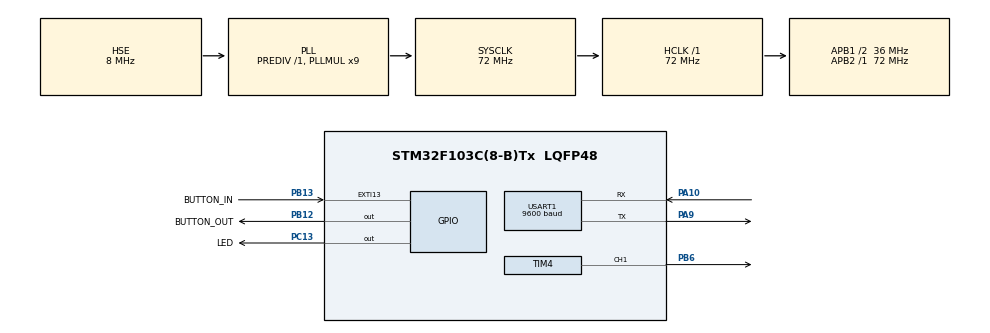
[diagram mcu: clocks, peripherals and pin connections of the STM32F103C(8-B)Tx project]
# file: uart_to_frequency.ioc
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Mcu.Family=STM32F1
Mcu.Name=STM32F103C(8-B)Tx
Mcu.Package=LQFP48
NVIC.EXTI15_10_IRQn=true\:0\:0\:false\:false\:true\:true\:true
NVIC.PriorityGroup=NVIC_PRIORITYGROUP_4
NVIC.TIM4_IRQn=true\:0\:0\:false\:false\:true\:true\:true
NVIC.USART1_IRQn=true\:0\:0\:false\:false\:true\:true\:true
PA10.Mode=Asynchronous
PA10.Signal=USART1_RX
PA13.Mode=Serial_Wire
PA13.Signal=SYS_JTMS-SWDIO
PA14.Mode=Serial_Wire
PA14.Signal=SYS_JTCK-SWCLK
PA9.Mode=Asynchronous
PA9.Signal=USART1_TX
PB12.GPIO_Label=BUTTON_OUT
PB12.GPIO_ModeDefaultOutputPP=GPIO_MODE_OUTPUT_PP
PB12.GPIO_PuPd=GPIO_PULLDOWN
PB12.Signal=GPIO_Output
PB13.GPIO_Label=BUTTON_IN
PB13.GPIO_ModeDefaultEXTI=GPIO_MODE_IT_FALLING
PB13.Signal=GPXTI13
PB6.Signal=S_TIM4_CH1
PC13-TAMPER-RTC.GPIO_Label=LED
PC13-TAMPER-RTC.GPIO_ModeDefaultOutputPP=GPIO_MODE_OUTPUT_PP
PC13-TAMPER-RTC.GPIO_PuPd=GPIO_PULLDOWN
PC13-TAMPER-RTC.Signal=GPIO_Output
PC14-OSC32_IN.Mode=LSE-External-Oscillator
PC14-OSC32_IN.Signal=RCC_OSC32_IN
PC15-OSC32_OUT.Mode=LSE-External-Oscillator
PC15-OSC32_OUT.Signal=RCC_OSC32_OUT
PD0-OSC_IN.Mode=HSE-External-Oscillator
PD0-OSC_IN.Signal=RCC_OSC_IN
PD1-OSC_OUT.Mode=HSE-External-Oscillator
PD1-OSC_OUT.Signal=RCC_OSC_OUT
ProjectManager.HeapSize=0x200
ProjectManager.StackSize=0x400
ProjectManager.TargetToolchain=STM32CubeIDE
RCC.AHBFreq_Value=72000000
RCC.APB1CLKDivider=RCC_HCLK_DIV2
RCC.APB1Freq_Value=36000000
RCC.APB1TimFreq_Value=72000000
RCC.APB2Freq_Value=72000000
RCC.APB2TimFreq_Value=72000000
RCC.HCLKFreq_Value=72000000
RCC.PLLMUL=RCC_PLL_MUL9
RCC.PLLSourceVirtual=RCC_PLLSOURCE_HSE
RCC.SYSCLKFreq_VALUE=72000000
RCC.SYSCLKSource=RCC_SYSCLKSOURCE_PLLCLK
RCC.USBFreq_Value=72000000
SH.S_TIM4_CH1.0=TIM4_CH1,Output Compare1 CH1
TIM4.AutoReloadPreload=TIM_AUTORELOAD_PRELOAD_ENABLE
TIM4.Channel-Output\ Compare1\ CH1=TIM_CHANNEL_1
TIM4.ClockDivision=TIM_CLOCKDIVISION_DIV1
TIM4.OC1Preload=ENABLE
TIM4.OCMode_1=TIM_OCMODE_TOGGLE
TIM4.Period=48
TIM4.Prescaler=10000-1
TIM4.Pulse-Output\ Compare1\ CH1=24
TIM4.TIM_MasterOutputTrigger=TIM_TRGO_RESET
TIM4.TIM_MasterSlaveMode=TIM_MASTERSLAVEMODE_DISABLE
USART1.BaudRate=9600
USART1.VirtualMode=VM_ASYNC
board=custom

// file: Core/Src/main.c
/* USER CODE BEGIN Header */
/**
  ******************************************************************************
  * @file           : main.c
  * @brief          : Main program body
  ******************************************************************************
  * @attention
  *
  * <h2><center>&copy; Copyright (c) 2021 STMicroelectronics.
  * All rights reserved.</center></h2>
  *
  * This software component is licensed by ST under BSD 3-Clause license,
  * the "License"; You may not use this file except in compliance with the
  * License. You may obtain a copy of the License at:
  *                        opensource.org/licenses/BSD-3-Clause
  *
  ******************************************************************************
  */
/* USER CODE END Header */
#include "main.h"

/* USER CODE BEGIN Includes */
#include "stm32f1xx_hal_flash_ex.h"
#include "stm32f1xx_hal_flash.h"
/* USER CODE END Includes */

TIM_HandleTypeDef htim4;

UART_HandleTypeDef huart1;

/* USER CODE BEGIN PV */
tdStructUL212 ul212;
FLASH_EraseInitTypeDef hflash;
uint32_t hPageError;
uint32_t periodLed;
uint32_t counterLed;
uint32_t counter = 0;
/* USER CODE END PV */

void SystemClock_Config(void);
static void MX_GPIO_Init(void);
static void MX_USART1_UART_Init(void);
static void MX_TIM4_Init(void);
/* USER CODE BEGIN PFP */
void UL212_Init(tdStructUL212 * UL212);
void UL212_LedInit(tdEnumStatusLed  STATUS_LED);
uint8_t AsciiToHex (char simbol);
void UL212_DataParser(tdStructUL212 * UL212);
void UL212_LedHandler(tdStructUL212 * UL212);
void UL212_FrequencyOut(int32_t frequency);
void FlashWriteSettings(uint32_t data, uint32_t page);
uint32_t FlashRead (uint32_t addr);
/* USER CODE END PFP */

int main(void)
{

  /* MCU Configuration--------------------------------------------------------*/

  /* Reset of all peripherals, Initializes the Flash interface and the Systick. */
  HAL_Init();

  /* Configure the system clock */
  SystemClock_Config();

  /* Initialize all configured peripherals */
  MX_GPIO_Init();
  MX_USART1_UART_Init();
  MX_TIM4_Init();
  /* USER CODE BEGIN 2 */
  UL212_Init(&ul212);
  HAL_GPIO_WritePin(BUTTON_OUT_GPIO_Port, BUTTON_OUT_Pin, GPIO_PIN_RESET);
  HAL_GPIO_WritePin(LED_GPIO_Port, LED_Pin, GPIO_PIN_SET);

  HAL_UART_Receive_IT(&huart1, ul212.rawData.uartBuffer, 1);
  //HAL_TIM_Base_Start_IT(&htim4);
  HAL_TIM_OC_Start_IT(&htim4, TIM_CHANNEL_1);
  //HAL_TIMEx_OCN_Start_IT(&htim4, TIM_CHANNEL_1);
  /* USER CODE END 2 */

  /* Infinite loop */
  /* USER CODE BEGIN WHILE */
  while (1)
  {
	  if (ul212.rawData.uartFlagEndString)
		  UL212_DataParser(&ul212);
	  if (ul212.hardwareCode == HW_NORMAL && ul212.softwareCode == SW_NORMAL_DATA &&
			  ul212.signalStrength > 60 && ul212.tiltAngle < 10 && ul212.validSignal > 26){
		  uint16_t dataL = ul212.liquidLevelValue;
		  UL212_FrequencyOut((1000*dataL/ul212.valueUp) + 500);
		  //UL212_FrequencyOut(((float)dataL*ul212.coeficient) + 500);
	  }

	  UL212_LedHandler(&ul212);
	  if (counter){
		  if(HAL_GPIO_ReadPin(BUTTON_IN_GPIO_Port, BUTTON_IN_Pin) != GPIO_PIN_SET){
			  if(ul212.hardwareCode == HW_NORMAL && ul212.softwareCode == SW_NORMAL_DATA){
				  ul212.valueUp = ul212.liquidLevelValue;
				  ul212.coeficient = (float)1000/(float)ul212.valueUp;
				  FlashWriteSettings(ul212.valueUp, SETTINGS_PAGE);
				  counter = 0;
				  UL212_LedInit(LED_FLASH_PROGRAM_OK);
			  }
		  }
	  }
    /* USER CODE END WHILE */

  }
}

void SystemClock_Config(void)
{
  RCC_OscInitTypeDef RCC_OscInitStruct = {0};
  RCC_ClkInitTypeDef RCC_ClkInitStruct = {0};

  /** Initializes the RCC Oscillators according to the specified parameters
  * in the RCC_OscInitTypeDef structure.
  */
  RCC_OscInitStruct.OscillatorType = RCC_OSCILLATORTYPE_HSE;
  RCC_OscInitStruct.HSEState = RCC_HSE_ON;
  RCC_OscInitStruct.HSEPredivValue = RCC_HSE_PREDIV_DIV1;
  RCC_OscInitStruct.HSIState = RCC_HSI_ON;
  RCC_OscInitStruct.PLL.PLLState = RCC_PLL_ON;
  RCC_OscInitStruct.PLL.PLLSource = RCC_PLLSOURCE_HSE;
  RCC_OscInitStruct.PLL.PLLMUL = RCC_PLL_MUL9;
  if (HAL_RCC_OscConfig(&RCC_OscInitStruct) != HAL_OK)
  {
    Error_Handler();
  }
  /** Initializes the CPU, AHB and APB buses clocks
  */
  RCC_ClkInitStruct.ClockType = RCC_CLOCKTYPE_HCLK|RCC_CLOCKTYPE_SYSCLK
                              |RCC_CLOCKTYPE_PCLK1|RCC_CLOCKTYPE_PCLK2;
  RCC_ClkInitStruct.SYSCLKSource = RCC_SYSCLKSOURCE_PLLCLK;
  RCC_ClkInitStruct.AHBCLKDivider = RCC_SYSCLK_DIV1;
  RCC_ClkInitStruct.APB1CLKDivider = RCC_HCLK_DIV2;
  RCC_ClkInitStruct.APB2CLKDivider = RCC_HCLK_DIV1;

  if (HAL_RCC_ClockConfig(&RCC_ClkInitStruct, FLASH_LATENCY_2) != HAL_OK)
  {
    Error_Handler();
  }
}

static void MX_TIM4_Init(void)
{

  TIM_MasterConfigTypeDef sMasterConfig = {0};
  TIM_OC_InitTypeDef sConfigOC = {0};

  htim4.Instance = TIM4;
  htim4.Init.Prescaler = 10000-1;
  htim4.Init.CounterMode = TIM_COUNTERMODE_UP;
  htim4.Init.Period = 48;
  htim4.Init.ClockDivision = TIM_CLOCKDIVISION_DIV1;
  htim4.Init.AutoReloadPreload = TIM_AUTORELOAD_PRELOAD_ENABLE;
  if (HAL_TIM_OC_Init(&htim4) != HAL_OK)
  {
    Error_Handler();
  }
  sMasterConfig.MasterOutputTrigger = TIM_TRGO_RESET;
  sMasterConfig.MasterSlaveMode = TIM_MASTERSLAVEMODE_DISABLE;
  if (HAL_TIMEx_MasterConfigSynchronization(&htim4, &sMasterConfig) != HAL_OK)
  {
    Error_Handler();
  }
  sConfigOC.OCMode = TIM_OCMODE_TOGGLE;
  sConfigOC.Pulse = 24;
  sConfigOC.OCPolarity = TIM_OCPOLARITY_HIGH;
  sConfigOC.OCFastMode = TIM_OCFAST_DISABLE;
  if (HAL_TIM_OC_ConfigChannel(&htim4, &sConfigOC, TIM_CHANNEL_1) != HAL_OK)
  {
    Error_Handler();
  }
  __HAL_TIM_ENABLE_OCxPRELOAD(&htim4, TIM_CHANNEL_1);
  HAL_TIM_MspPostInit(&htim4);

}

static void MX_USART1_UART_Init(void)
{

  huart1.Instance = USART1;
  huart1.Init.BaudRate = 9600;
  huart1.Init.WordLength = UART_WORDLENGTH_8B;
  huart1.Init.StopBits = UART_STOPBITS_1;
  huart1.Init.Parity = UART_PARITY_NONE;
  huart1.Init.Mode = UART_MODE_TX_RX;
  huart1.Init.HwFlowCtl = UART_HWCONTROL_NONE;
  huart1.Init.OverSampling = UART_OVERSAMPLING_16;
  if (HAL_UART_Init(&huart1) != HAL_OK)
  {
    Error_Handler();
  }

}

static void MX_GPIO_Init(void)
{
  GPIO_InitTypeDef GPIO_InitStruct = {0};

  /* GPIO Ports Clock Enable */
  __HAL_RCC_GPIOC_CLK_ENABLE();
  __HAL_RCC_GPIOD_CLK_ENABLE();
  __HAL_RCC_GPIOB_CLK_ENABLE();
  __HAL_RCC_GPIOA_CLK_ENABLE();

  /*Configure GPIO pin Output Level */
  HAL_GPIO_WritePin(LED_GPIO_Port, LED_Pin, GPIO_PIN_RESET);

  /*Configure GPIO pin Output Level */
  HAL_GPIO_WritePin(BUTTON_OUT_GPIO_Port, BUTTON_OUT_Pin, GPIO_PIN_RESET);

  /*Configure GPIO pin : LED_Pin */
  GPIO_InitStruct.Pin = LED_Pin;
  GPIO_InitStruct.Mode = GPIO_MODE_OUTPUT_PP;
  GPIO_InitStruct.Pull = GPIO_PULLDOWN;
  GPIO_InitStruct.Speed = GPIO_SPEED_FREQ_LOW;
  HAL_GPIO_Init(LED_GPIO_Port, &GPIO_InitStruct);

  /*Configure GPIO pin : BUTTON_OUT_Pin */
  GPIO_InitStruct.Pin = BUTTON_OUT_Pin;
  GPIO_InitStruct.Mode = GPIO_MODE_OUTPUT_PP;
  GPIO_InitStruct.Pull = GPIO_PULLDOWN;
  GPIO_InitStruct.Speed = GPIO_SPEED_FREQ_LOW;
  HAL_GPIO_Init(BUTTON_OUT_GPIO_Port, &GPIO_InitStruct);

  /*Configure GPIO pin : BUTTON_IN_Pin */
  GPIO_InitStruct.Pin = BUTTON_IN_Pin;
  GPIO_InitStruct.Mode = GPIO_MODE_IT_FALLING;
  GPIO_InitStruct.Pull = GPIO_NOPULL;
  HAL_GPIO_Init(BUTTON_IN_GPIO_Port, &GPIO_InitStruct);

  /* EXTI interrupt init*/
  HAL_NVIC_SetPriority(EXTI15_10_IRQn, 0, 0);
  HAL_NVIC_EnableIRQ(EXTI15_10_IRQn);

}

/* USER CODE BEGIN 4 */

void HAL_GPIO_EXTI_Callback(uint16_t GPIO_Pin)
{
	counter++;
}

void ButtonHandling(tdStructUL212 * UL212){}

void HAL_UART_RxCpltCallback(UART_HandleTypeDef *huart)
{
	switch (*ul212.rawData.uartBuffer)
	{
		case '*':
		{
			if (ul212.statusLed == LED_OK)HAL_GPIO_WritePin(LED_GPIO_Port, LED_Pin, GPIO_PIN_RESET);
			ul212.rawData.uartPoint = 0;
			ul212.rawData.uartBufferString[ul212.rawData.uartPoint] = *ul212.rawData.uartBuffer;
			ul212.rawData.uartPoint++;
		}
			break;

		case '#':
		{
			if(ul212.statusLed == LED_OK)HAL_GPIO_WritePin(LED_GPIO_Port, LED_Pin, GPIO_PIN_SET);
			ul212.rawData.uartFlagEndString = TRUE;
			ul212.rawData.uartBufferString[ul212.rawData.uartPoint] = *ul212.rawData.uartBuffer;
			ul212.rawData.uartPoint++;
		}
			break;
		default:
		{
			ul212.rawData.uartBufferString[ul212.rawData.uartPoint] = *ul212.rawData.uartBuffer;
			ul212.rawData.uartPoint++;
		}
			break;
	}

	HAL_UART_Receive_IT(&huart1, ul212.rawData.uartBuffer, 1);
}

void HAL_TIM_OC_DelayElapsedCallback(TIM_HandleTypeDef *htim)
{

}

void HAL_TIM_PeriodElapsedCallback(TIM_HandleTypeDef *htim)
{

}

void UL212_DataParser(tdStructUL212 * UL212)
{
	tdEnumDataParser dataParser = START;
	uint32_t temp;
	uint8_t parserPoint;
	for (parserPoint = 0; UL212->rawData.uartBufferString[parserPoint] != '#'; parserPoint++) {
		if (UL212->rawData.uartBufferString[parserPoint] == ',')
		{
			dataParser++;
			switch (dataParser) {
				case VERSION:
					UL212->protocolVersion = UL212->rawData.uartBufferString[parserPoint+1] - 0x30;
					UL212->firmwareVersion = ((UL212->rawData.uartBufferString[parserPoint+2] - 0x30) * 10) +
							+ (UL212->rawData.uartBufferString[parserPoint+3]-0x30);
					UL212->hardwareVersion = UL212->rawData.uartBufferString[parserPoint+4] - 0x30;
				break;
				case MINUTE:
					UL212->minute = ((UL212->rawData.uartBufferString[parserPoint+1] - 0x30) * 10) +
							+ (UL212->rawData.uartBufferString[parserPoint+2] - 0x30);
					break;
				case LIQUID_LEVEL_VALUE:
					UL212->liquidLevelValue = ((UL212->rawData.uartBufferString[parserPoint+1] - 0x30) * 1000) +
							+ ((UL212->rawData.uartBufferString[parserPoint+2] - 0x30) * 100) +
							+ ((UL212->rawData.uartBufferString[parserPoint+3] - 0x30) * 10) +
							+ (UL212->rawData.uartBufferString[parserPoint+4] - 0x30);
					break;
				case SIGNAL_STRENGTH:
					UL212->signalStrength = ((UL212->rawData.uartBufferString[parserPoint+1] - 0x30) * 10) +
							+ (UL212->rawData.uartBufferString[parserPoint+2] - 0x30);
					UL212->softwareCode = UL212->rawData.uartBufferString[parserPoint+3] - 0x30;
					UL212->hardwareCode = UL212->rawData.uartBufferString[parserPoint+4] - 0x30;
					break;
				case REAL_TIME_VALUE:
					UL212->realTimeValue = ((UL212->rawData.uartBufferString[parserPoint+1] - 0x30) * 1000) +
							+ ((UL212->rawData.uartBufferString[parserPoint+2] - 0x30) * 100) +
							+ ((UL212->rawData.uartBufferString[parserPoint+3] - 0x30) * 10) +
							+ (UL212->rawData.uartBufferString[parserPoint+4] - 0x30);
					break;
				case TEMPERATURE:
					temp = ((UL212->rawData.uartBufferString[parserPoint+1] - 0x30) * 1000) +
							+ ((UL212->rawData.uartBufferString[parserPoint+2] - 0x30) * 100) +
							+ ((UL212->rawData.uartBufferString[parserPoint+3] - 0x30) * 10) +
							+ (UL212->rawData.uartBufferString[parserPoint+4] - 0x30);
					UL212->temperature = (temp - 400) * 0.1;
					break;
				case VALID_SIGNAL:
					UL212->validSignal = ((UL212->rawData.uartBufferString[parserPoint+1] - 0x30) * 10) +
							+ (UL212->rawData.uartBufferString[parserPoint+2] - 0x30);
					UL212->tiltAngle = (AsciiToHex(UL212->rawData.uartBufferString[parserPoint+3]) * 0x0f) +
							AsciiToHex(UL212->rawData.uartBufferString[parserPoint+4]);
				    break;
				default:
					break;
			}
		}
	}
	UL212->rawData.uartFlagEndString = FALSE;
}

void UL212_LedInit(tdEnumStatusLed  STATUS_LED)
{
	  HAL_GPIO_WritePin(LED_GPIO_Port, LED_Pin, GPIO_PIN_SET);
	  ul212.statusLed = STATUS_LED;
	  ul212.counterLed = STATUS_LED * 2;
}

void UL212_LedHandler(tdStructUL212 * UL212)
{

	switch (UL212->statusLed) {
		case LED_FLASH_PROGRAM_OK:
			if (HAL_GetTick() > periodLed)
			{
				periodLed = HAL_GetTick() + LED_DELAY;
				HAL_GPIO_TogglePin(LED_GPIO_Port, LED_Pin);
				UL212->counterLed--;

			}
			break;
		default:
			break;
	}
	if (UL212->counterLed == 0)UL212->statusLed = LED_OK;
}

void UL212_FrequencyOut(int32_t frequency)
{
	//int32_t prescellar = -1 * frequency + 2000;
	int32_t prescellar = 72000000/(frequency * 2 * 48);// 48 : Предделитель таймера
	TIM4->PSC = prescellar - 1;
}

void UL212_Init(tdStructUL212 * UL212)
{
	UL212->protocolVersion = 0;
	UL212->firmwareVersion = 0;
	UL212->hardwareVersion = 0;
	UL212->minute = 0;
	UL212->liquidLevelValue = 1600;
	UL212->signalStrength = 0;
	UL212->softwareCode = SW_WEAK_SIGNAL;
	UL212->hardwareCode = HW_SENSOR_DISCONNECT;
	UL212->realTimeValue = 0;
	UL212->temperature = 0.0;
	UL212->validSignal = 0;
	UL212->tiltAngle = 0;
	UL212->calibration = NOT_READY;
	UL212->valueUp = FlashRead(SETTINGS_PAGE);
	UL212->coeficient = (float)1000/(float)UL212->valueUp;

}

uint8_t AsciiToHex (char simbol)
{
	switch (simbol) {
		case '0': return 0x00;
		case '1': return 0x01;
		case '2': return 0x02;
		case '3': return 0x03;
		case '4': return 0x04;
		case '5': return 0x05;
		case '6': return 0x06;
		case '7': return 0x07;
		case '8': return 0x08;
		case '9': return 0x09;
		case 'a': case 'A': return 0x0a;
		case 'b': case 'B': return 0x0b;
		case 'c': case 'C': return 0x0c;
		case 'd': case 'D': return 0x0d;
		case 'e': case 'E': return 0x0e;
		case 'f': case 'F': return 0x0f;
		default: return 0xff;
	}
}

void FlashWriteSettings(uint32_t data, uint32_t page)
{
	HAL_FLASH_Unlock();
	hflash.TypeErase = FLASH_TYPEERASE_PAGES;
	hflash.PageAddress = page;
	hflash.NbPages = 1;
	FLASH_WaitForLastOperation(500);
	HAL_FLASHEx_Erase(&hflash, &hPageError);
	FLASH_WaitForLastOperation(500);
	while(HAL_FLASH_Program(FLASH_TYPEPROGRAM_WORD, page, data) != HAL_OK);
	FLASH_WaitForLastOperation(500);
	HAL_FLASH_Lock();

}

uint32_t FlashRead (uint32_t addr)
{
	return (*(__IO uint32_t*) addr);
}

/* USER CODE END 4 */

void Error_Handler(void)
{
}

/************************ (C) COPYRIGHT STMicroelectronics *****END OF FILE****/
